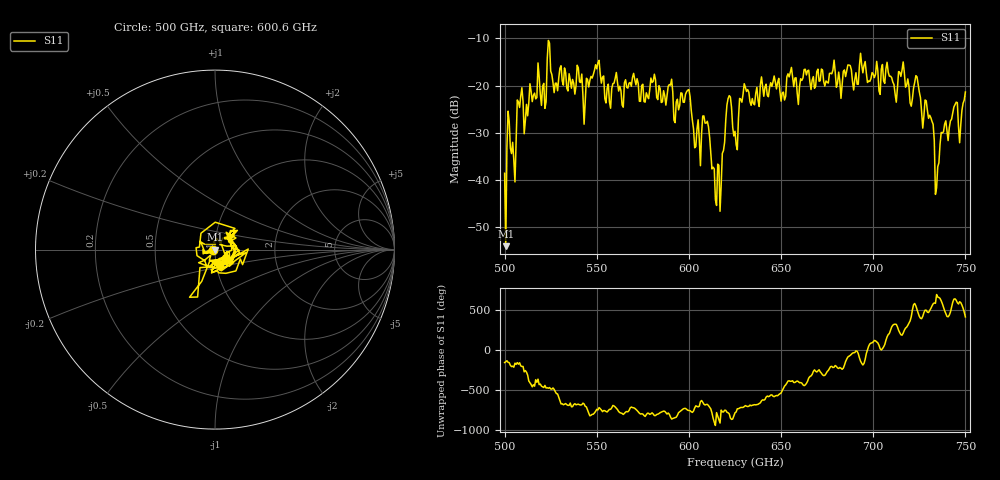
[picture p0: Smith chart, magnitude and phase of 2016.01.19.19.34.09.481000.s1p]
!Created with skrf (http://scikit-rf.org).
# GHz S RI R 50.0
!freq ReS11 ImS11
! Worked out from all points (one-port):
!   401 points, 500 GHz to 750 GHz, reference 50 ohm
!   lowest |S11| = -54.1 dB at 500.6 GHz (marker M1), VSWR 1.00, Z = 49.8 - j0.0995 ohm
!   |S11| at or under -10 dB: start of sweep to end of sweep
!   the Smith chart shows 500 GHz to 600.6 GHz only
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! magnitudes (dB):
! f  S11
! 500 GHz  -38.6
! 500.6 GHz  -54.1
! 502.5 GHz  -27.6
! 505 GHz  -35.8
! 508.1 GHz  -24.7
! 521.2 GHz  -19.5
! 524.4 GHz  -11.0
! 527.5 GHz  -19.5
! 531.2 GHz  -19.0
! 550 GHz  -16.4
! 562.5 GHz  -20.1
! 580.6 GHz  -19.1
! 593.8 GHz  -22.9
! 599.4 GHz  -21.0
! 605 GHz  -27.3
! 609.4 GHz  -28.0
! 615.6 GHz  -36.7
! 621.2 GHz  -22.8
! 625 GHz  -29.7
! 630.6 GHz  -20.4
! 656.2 GHz  -18.2
! 687.5 GHz  -15.8
! 718.8 GHz  -18.6
! 729.4 GHz  -25.2
! 735 GHz  -37.2
! 738.1 GHz  -29.8
! 747.5 GHz  -28.3
! 750 GHz  -21.4
